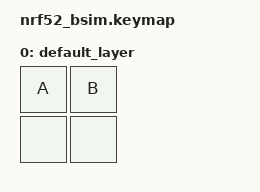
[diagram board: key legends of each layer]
#include <behaviors.dtsi>
#include <dt-bindings/zmk/keys.h>
#include <dt-bindings/zmk/kscan_mock.h>

&kscan {
    events =
        <ZMK_MOCK_PRESS(0, 0, 5000)
         ZMK_MOCK_RELEASE(0, 0, 100)>;
};

/ {
    keymap {
        compatible = "zmk,keymap";

        default_layer {
            bindings = <
                &kp A &kp B
                &none &none
            >;
        };
    };
};
